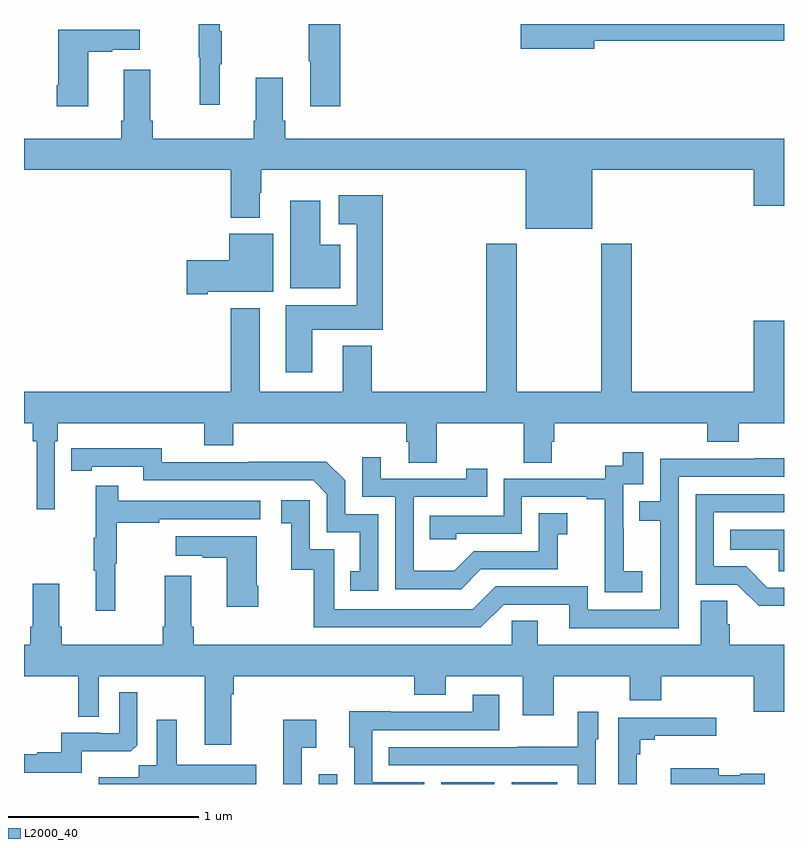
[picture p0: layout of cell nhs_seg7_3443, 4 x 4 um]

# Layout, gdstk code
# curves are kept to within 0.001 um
import gdstk
lib = gdstk.Library(unit=1e-6, precision=1e-09)
def R(c, l, rs):  # rectangles x0, y0, x1, y1
    for r in rs: c.add(gdstk.rectangle(r[:2], r[2:], *l))
def P(c, l, *ps):  # polygons
    for p in ps: c.add(gdstk.Polygon(p, *l))
L2000_40 = (2000, 40)

nhs_seg7_3443 = lib.new_cell('nhs_seg7_3443')
R(nhs_seg7_3443, L2000_40, [(330.552,1048,330.648,1048.051), (331.196,1048,331.474,1048.009), (331.568,1048,331.807,1048.009)])
P(nhs_seg7_3443, L2000_40, [(330.029,1051.787),(330.04,1051.787),(330.04,1051.961),(330.029,1051.961),(330.029,1052),(329.919,1052),(329.919,1051.824),(329.926,1051.824),(329.926,1051.575),(330.029,1051.575)],
  [(330.665,1052),(330.499,1052),(330.499,1051.804),(330.506,1051.804),(330.506,1051.566),(330.665,1051.566)],
  [(332.002,1051.912),(333,1051.912),(333,1052),(331.614,1052),(331.614,1051.87),(332.002,1051.87)],
  [(329.338,1051.855),(329.465,1051.855),(329.465,1051.865),(329.608,1051.865),(329.608,1051.969),(329.18,1051.969),(329.18,1051.678),(329.173,1051.678),(329.173,1051.566),(329.338,1051.566)],
  [(331.99,1051.232),(332.84,1051.232),(332.84,1051.044),(333,1051.044),(333,1051.396),(330.374,1051.396),(330.374,1051.492),(330.361,1051.492),(330.361,1051.717),(330.221,1051.717),(330.221,1051.492),(330.209,1051.492),(330.209,1051.396),(329.678,1051.396),(329.678,1051.492),(329.665,1051.492),(329.665,1051.759),(329.525,1051.759),(329.525,1051.492),(329.513,1051.492),(329.513,1051.396),(329,1051.396),(329,1051.232),(330.089,1051.232),(330.089,1050.98),(330.241,1050.98),(330.241,1051.112),(330.249,1051.112),(330.249,1051.232),(331.64,1051.232),(331.64,1050.923),(331.99,1050.923)],
  [(330.517,1050.392),(330.887,1050.392),(330.887,1051.099),(330.657,1051.099),(330.657,1050.947),(330.752,1050.947),(330.752,1050.52),(330.377,1050.52),(330.377,1050.168),(330.517,1050.168)],
  [(330.664,1050.838),(330.559,1050.838),(330.559,1051.069),(330.401,1051.069),(330.401,1050.608),(330.664,1050.608)],
  [(329.968,1050.59),(330.313,1050.59),(330.313,1050.895),(330.08,1050.895),(330.08,1050.756),(329.856,1050.756),(329.856,1050.578),(329.968,1050.578)],
  [(329.163,1049.804),(329.177,1049.804),(329.177,1049.9),(329.948,1049.9),(329.948,1049.783),(330.101,1049.783),(330.101,1049.9),(331.013,1049.9),(331.013,1049.802),(331.025,1049.802),(331.025,1049.692),(331.173,1049.692),(331.173,1049.9),(331.63,1049.9),(331.63,1049.692),(331.777,1049.692),(331.777,1049.802),(331.79,1049.802),(331.79,1049.9),(332.597,1049.9),(332.597,1049.801),(332.762,1049.801),(332.762,1049.9),(333,1049.9),(333,1050.439),(332.84,1050.439),(332.84,1050.064),(332.198,1050.064),(332.198,1050.844),(332.038,1050.844),(332.038,1050.064),(331.593,1050.064),(331.593,1050.844),(331.433,1050.844),(331.433,1050.064),(330.83,1050.064),(330.83,1050.307),(330.677,1050.307),(330.677,1050.064),(330.241,1050.064),(330.241,1050.505),(330.089,1050.505),(330.089,1050.064),(329,1050.064),(329,1049.9),(329.047,1049.9),(329.047,1049.804),(329.066,1049.804),(329.066,1049.445),(329.163,1049.445)],
  [(330.864,1049.421),(330.69,1049.421),(330.69,1049.598),(330.592,1049.696),(330.184,1049.696),(330.184,1049.694),(329.724,1049.694),(329.724,1049.767),(329.248,1049.766),(329.248,1049.65),(329.356,1049.65),(329.356,1049.67),(329.628,1049.67),(329.628,1049.598),(330.522,1049.598),(330.594,1049.526),(330.594,1049.325),(330.767,1049.325),(330.767,1049.121),(330.718,1049.121),(330.718,1049.016),(330.864,1049.016)],
  [(332.254,1049.119),(332.156,1049.119),(332.156,1049.348),(332.154,1049.348),(332.154,1049.577),(332.259,1049.577),(332.259,1049.746),(332.151,1049.746),(332.151,1049.676),(332.058,1049.676),(332.058,1049.607),(331.524,1049.607),(331.524,1049.412),(331.135,1049.412),(331.135,1049.289),(331.275,1049.289),(331.275,1049.316),(331.62,1049.316),(331.62,1049.511),(331.961,1049.511),(331.961,1049.499),(332.057,1049.499),(332.057,1049.215),(332.056,1049.215),(332.056,1049.009),(332.254,1049.009)],
  [(331.405,1049.13),(331.809,1049.13),(331.809,1049.315),(331.858,1049.315),(331.858,1049.425),(331.71,1049.425),(331.71,1049.226),(331.368,1049.226),(331.264,1049.122),(331.05,1049.122),(331.05,1049.511),(331.439,1049.511),(331.439,1049.659),(331.328,1049.659),(331.328,1049.607),(330.877,1049.607),(330.877,1049.719),(330.78,1049.719),(330.78,1049.511),(330.954,1049.511),(330.954,1049.025),(331.3,1049.025)],
  [(332.445,1049.616),(333,1049.616),(333,1049.714),(332.845,1049.714),(332.845,1049.712),(332.349,1049.712),(332.349,1049.487),(332.239,1049.487),(332.239,1049.386),(332.349,1049.386),(332.349,1048.917),(331.968,1048.917),(331.968,1049.04),(331.482,1049.04),(331.362,1048.92),(330.633,1048.92),(330.633,1049.235),(330.504,1049.235),(330.504,1049.494),(330.354,1049.494),(330.354,1049.373),(330.407,1049.373),(330.407,1049.127),(330.525,1049.127),(330.525,1048.824),(331.404,1048.824),(331.524,1048.944),(331.871,1048.944),(331.871,1048.821),(332.445,1048.821)],
  [(329.48,1049.16),(329.488,1049.16),(329.488,1049.374),(329.711,1049.374),(329.711,1049.394),(330.244,1049.394),(330.244,1049.49),(329.495,1049.49),(329.495,1049.569),(329.378,1049.569),(329.378,1049.297),(329.367,1049.297),(329.367,1049.123),(329.378,1049.123),(329.378,1048.911),(329.48,1048.911)],
  [(333,1049.034),(332.911,1049.034),(332.8,1049.145),(332.631,1049.145),(332.631,1049.43),(333,1049.43),(333,1049.526),(332.535,1049.526),(332.535,1049.049),(332.754,1049.049),(332.867,1048.937),(333,1048.937)],
  [(333,1049.338),(332.716,1049.338),(332.716,1049.234),(332.973,1049.234),(332.973,1049.119),(333,1049.119)],
  [(330.234,1049.044),(330.226,1049.044),(330.226,1049.305),(329.799,1049.305),(329.799,1049.201),(329.942,1049.201),(329.942,1049.191),(330.068,1049.191),(330.068,1048.932),(330.234,1048.932)],
  [(330.091,1048.472),(330.104,1048.472),(330.104,1048.568),(331.055,1048.568),(331.055,1048.469),(331.219,1048.469),(331.219,1048.568),(331.625,1048.568),(331.625,1048.362),(331.789,1048.362),(331.789,1048.568),(332.189,1048.568),(332.189,1048.44),(332.353,1048.44),(332.353,1048.568),(332.84,1048.568),(332.84,1048.38),(333,1048.38),(333,1048.732),(332.714,1048.732),(332.714,1048.841),(332.7,1048.841),(332.7,1048.964),(332.561,1048.964),(332.561,1048.732),(331.705,1048.732),(331.705,1048.859),(331.566,1048.859),(331.566,1048.732),(329.894,1048.732),(329.894,1048.828),(329.881,1048.828),(329.881,1049.095),(329.741,1049.095),(329.741,1048.828),(329.729,1048.828),(329.729,1048.732),(329.198,1048.732),(329.198,1048.828),(329.185,1048.828),(329.185,1049.053),(329.045,1049.053),(329.045,1048.828),(329.033,1048.828),(329.033,1048.732),(329,1048.732),(329,1048.568),(329.286,1048.568),(329.286,1048.354),(329.394,1048.354),(329.394,1048.568),(329.951,1048.568),(329.951,1048.206),(330.091,1048.206)],
  [(329.305,1048.172),(329.563,1048.172),(329.595,1048.203),(329.595,1048.483),(329.502,1048.483),(329.502,1048.266),(329.402,1048.266),(329.402,1048.269),(329.195,1048.269),(329.195,1048.168),(329.071,1048.168),(329.071,1048.156),(329,1048.156),(329,1048.059),(329.305,1048.059)],
  [(331.107,1048.008),(330.834,1048.008),(330.834,1048.284),(331.501,1048.284),(331.501,1048.471),(331.361,1048.471),(331.361,1048.38),(330.931,1048.38),(330.931,1048.382),(330.713,1048.382),(330.713,1048.194),(330.738,1048.194),(330.738,1048),(331.107,1048)],
  [(332.01,1048.236),(332.023,1048.236),(332.023,1048.381),(331.914,1048.381),(331.914,1048.195),(331.597,1048.195),(331.597,1048.194),(330.919,1048.194),(330.919,1048.098),(331.914,1048.098),(331.914,1048),(332.01,1048)],
  [(332.225,1048.157),(332.243,1048.157),(332.243,1048.234),(332.32,1048.234),(332.32,1048.253),(332.644,1048.253),(332.644,1048.35),(332.127,1048.35),(332.127,1048),(332.225,1048)],
  [(330.462,1048.19),(330.538,1048.19),(330.538,1048.339),(330.365,1048.339),(330.365,1048),(330.462,1048)],
  [(330.223,1048.102),(329.803,1048.102),(329.803,1048.339),(329.699,1048.339),(329.699,1048.1),(329.604,1048.1),(329.604,1048.036),(329.393,1048.036),(329.393,1048),(330.223,1048)],
  [(332.899,1048.053),(332.769,1048.053),(332.769,1048.045),(332.656,1048.045),(332.656,1048.084),(332.405,1048.084),(332.405,1048),(332.899,1048)])

lib.write_gds('nhs_seg7_3443.gds')
